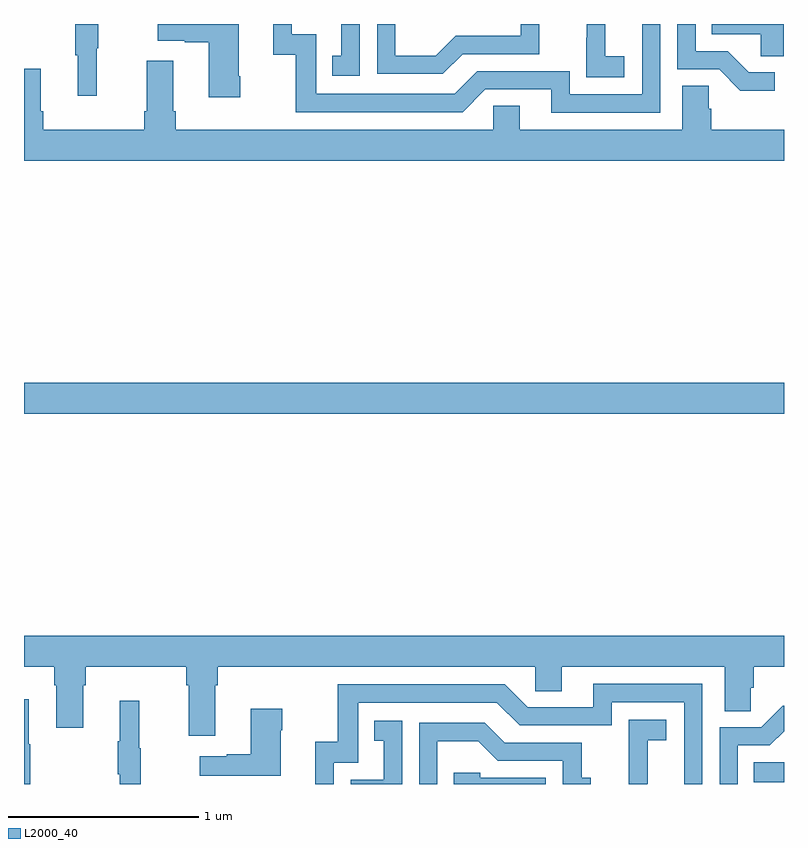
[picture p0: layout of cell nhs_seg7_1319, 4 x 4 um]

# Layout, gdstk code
import gdstk
lib = gdstk.Library(unit=1e-6, precision=1e-09)
def R(c, l, rs):  # rectangles x0, y0, x1, y1
    for r in rs: c.add(gdstk.rectangle(r[:2], r[2:], *l))
def P(c, l, *ps):  # polygons
    for p in ps: c.add(gdstk.Polygon(p, *l))
L2000_40 = (2000, 40)

nhs_seg7_1319 = lib.new_cell('nhs_seg7_1319')
R(nhs_seg7_1319, L2000_40, [(206.842,1000.01,207,1000.114), (203,1001.948,207,1002.112)])
P(nhs_seg7_1319, L2000_40, [(206.95,1003.746),(206.815,1003.746),(206.704,1003.857),(206.535,1003.857),(206.535,1004),(206.439,1004),(206.439,1003.761),(206.658,1003.761),(206.771,1003.649),(206.95,1003.649)],
  [(206.998,1004),(206.62,1004),(206.62,1003.946),(206.877,1003.946),(206.877,1003.831),(206.998,1003.831)],
  [(204.138,1003.726),(204.13,1003.726),(204.13,1004),(203.703,1004),(203.703,1003.913),(203.846,1003.913),(203.846,1003.903),(203.972,1003.903),(203.972,1003.614),(204.138,1003.614)],
  [(206.349,1004),(206.253,1004),(206.253,1003.629),(205.872,1003.629),(205.872,1003.752),(205.386,1003.752),(205.266,1003.632),(204.537,1003.632),(204.537,1003.947),(204.408,1003.947),(204.408,1004),(204.311,1004),(204.311,1003.839),(204.429,1003.839),(204.429,1003.536),(205.308,1003.536),(205.428,1003.656),(205.775,1003.656),(205.775,1003.533),(206.349,1003.533)],
  [(206.158,1003.831),(206.06,1003.831),(206.06,1004),(205.961,1004),(205.961,1003.927),(205.96,1003.927),(205.96,1003.721),(206.158,1003.721)],
  [(205.309,1003.842),(205.713,1003.842),(205.713,1004),(205.614,1004),(205.614,1003.938),(205.272,1003.938),(205.168,1003.834),(204.954,1003.834),(204.954,1004),(204.858,1004),(204.858,1003.737),(205.204,1003.737)],
  [(203.384,1003.872),(203.392,1003.872),(203.392,1004),(203.271,1004),(203.271,1003.835),(203.282,1003.835),(203.282,1003.623),(203.384,1003.623)],
  [(204.768,1004),(204.671,1004),(204.671,1003.833),(204.622,1003.833),(204.622,1003.728),(204.768,1003.728)],
  [(207,1003.444),(206.618,1003.444),(206.618,1003.553),(206.604,1003.553),(206.604,1003.676),(206.465,1003.676),(206.465,1003.444),(205.609,1003.444),(205.609,1003.571),(205.47,1003.571),(205.47,1003.444),(203.798,1003.444),(203.798,1003.54),(203.785,1003.54),(203.785,1003.807),(203.645,1003.807),(203.645,1003.54),(203.633,1003.54),(203.633,1003.444),(203.102,1003.444),(203.102,1003.54),(203.089,1003.54),(203.089,1003.765),(203,1003.765),(203,1003.28),(207,1003.28)],
  [(204.007,1000.52),(204.02,1000.52),(204.02,1000.616),(205.692,1000.616),(205.692,1000.489),(205.831,1000.489),(205.831,1000.616),(206.687,1000.616),(206.687,1000.384),(206.826,1000.384),(206.826,1000.507),(206.84,1000.507),(206.84,1000.616),(207,1000.616),(207,1000.78),(203,1000.78),(203,1000.616),(203.159,1000.616),(203.159,1000.52),(203.171,1000.52),(203.171,1000.296),(203.311,1000.296),(203.311,1000.52),(203.324,1000.52),(203.324,1000.616),(203.855,1000.616),(203.855,1000.52),(203.867,1000.52),(203.867,1000.254),(204.007,1000.254)],
  [(204.63,1000.113),(204.759,1000.113),(204.759,1000.428),(205.488,1000.428),(205.608,1000.308),(206.094,1000.308),(206.094,1000.431),(206.475,1000.431),(206.475,1000),(206.571,1000),(206.571,1000.527),(205.997,1000.527),(205.997,1000.404),(205.65,1000.404),(205.53,1000.524),(204.651,1000.524),(204.651,1000.222),(204.533,1000.222),(204.533,1000),(204.63,1000)],
  [(203.034,1000.208),(203.026,1000.208),(203.026,1000.447),(203,1000.447),(203,1000),(203.034,1000)],
  [(203.614,1000.188),(203.606,1000.188),(203.606,1000.438),(203.504,1000.438),(203.504,1000.225),(203.493,1000.225),(203.493,1000.051),(203.504,1000.051),(203.504,1000),(203.614,1000)],
  [(206.757,1000.203),(206.926,1000.203),(207,1000.277),(207,1000.412),(206.993,1000.412),(206.88,1000.299),(206.661,1000.299),(206.661,1000),(206.757,1000)],
  [(204.352,1000.283),(204.36,1000.283),(204.36,1000.396),(204.194,1000.396),(204.194,1000.157),(204.068,1000.157),(204.068,1000.147),(203.925,1000.147),(203.925,1000.043),(204.352,1000.043)],
  [(206.28,1000.001),(206.282,1000.001),(206.282,1000.229),(206.38,1000.229),(206.38,1000.339),(206.182,1000.339),(206.182,1000.133),(206.183,1000.133),(206.183,1000),(206.28,1000)],
  [(204.99,1000.333),(204.844,1000.333),(204.844,1000.227),(204.893,1000.227),(204.893,1000.023),(204.72,1000.023),(204.72,1000),(204.99,1000)],
  [(205.176,1000.226),(205.39,1000.226),(205.494,1000.122),(205.836,1000.122),(205.836,1000),(205.984,1000),(205.984,1000.033),(205.935,1000.033),(205.935,1000.218),(205.531,1000.218),(205.426,1000.323),(205.08,1000.323),(205.08,1000),(205.176,1000)],
  [(205.746,1000.032),(205.401,1000.032),(205.401,1000.059),(205.261,1000.059),(205.261,1000),(205.746,1000)])

lib.write_gds('nhs_seg7_1319.gds')
